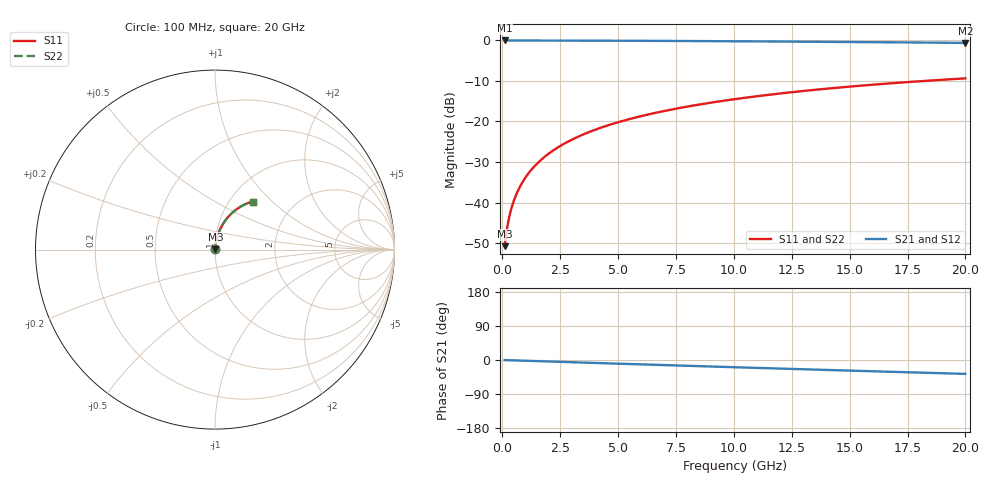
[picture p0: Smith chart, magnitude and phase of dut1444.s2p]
! Touchstone file exported from HFSS 2026.1.0
!  File:  C:/ffzhzh/LocalFiles/Ansys_Project_Files/temp_train_BSMRDL_1444_1783180615_43440.aedt
!  Generated:  11:58:08 PM Jul  4, 2026
!  Design:  BSMRDL
!  Project:  temp_train_BSMRDL_1444_1783180615_43440
! Variables:
!  h_bsmrdl = 4.47um
!  h_ox = 20um
!  h_rdl = 5um
!  h_sub = 80um
!  h_tmrdl = 5um
!  h_tsv = 80um
!  h_via = 3um
!  l_bsmrdl = 520.05um
!  l_sub = 920.05um
!  l_tmrdl = 200um
!  m_sub = 200um
!  pitch = 53.15um
!  r_tsv = 6um
!  s_tmrdl = 10um
!  w_bsmrdl = 23.91um
!  w_sub = 500um
!  w_tmrdl = 12um
!  x_tsv_center1 = 206um
!  x_tsv_center2 = 749.96um
!  x_tsv_center3 = 961.96um
!  x_tsv_center4 = 1505.92um
!  x_tsv_center5 = 1717.92um
!  x_tsv_center6 = 2261.88um
# GHz S MA R 50.000000
! Terminal data exported
! Port[1] = BSM_RDL1_1_T1
! Port[2] = BSM_RDL1_1_T2
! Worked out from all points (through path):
!   200 points, 100 MHz to 20 GHz, reference 50 ohm
!   highest |S21| = -0.02 dB at 100 MHz (marker M1); lowest = -0.6 dB at 20 GHz (marker M2)
!   group delay of S21, straight-line fit = 5.09 ps
!   lowest |S11| = -50.8 dB at 100 MHz (marker M3), VSWR 1.01, Z = 50.2 + j0.217 ohm
!   |S11| at or under -10 dB: start of sweep to 18.23 GHz
!   |S22| runs from -50.8 to -9.4 dB; largest |S21 - S12| = 3.2e-15
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0.1  0.002894 48.5  0.9981 -0.2  0.9981 -0.2  0.002894 48.5
! Gamma 0 0 0 0
! Port Impedance 50 0 50 0
0.2  0.004736 64.2  0.998 -0.4  0.998 -0.4  0.004736 64.2
0.3  0.006674 70.6  0.9978 -0.6  0.9978 -0.6  0.006673 70.6
0.4  0.008615 74.1  0.9977 -0.8  0.9977 -0.8  0.008614 74.1
0.5  0.01056 76.3  0.9977 -1.0  0.9977 -1.0  0.01056 76.3
0.7  0.01445 78.9  0.9975 -1.4  0.9975 -1.4  0.01445 78.9
0.8  0.01641 79.7  0.9975 -1.6  0.9975 -1.6  0.01641 79.7
1  0.02033 80.8  0.9973 -2.0  0.9973 -2.0  0.02033 80.8
1.2  0.02427 81.4  0.9972 -2.4  0.9972 -2.4  0.02427 81.4
1.4  0.02821 81.8  0.997 -2.8  0.997 -2.8  0.02821 81.8
1.7  0.03412 82.0  0.9967 -3.3  0.9967 -3.3  0.03412 82.0
2  0.04002 81.9  0.9964 -3.9  0.9964 -3.9  0.04002 81.9
2.7  0.05373 81.2  0.9954 -5.3  0.9954 -5.3  0.05373 81.3
3.5  0.06923 80.1  0.994 -6.8  0.994 -6.8  0.06923 80.1
4.2  0.08264 79.0  0.9925 -8.2  0.9925 -8.2  0.08264 79.0
5  0.09777 77.7  0.9907 -9.7  0.9907 -9.7  0.09777 77.7
6.8  0.1311 74.5  0.986 -13.1  0.986 -13.1  0.1311 74.5
8.3  0.158 71.9  0.9814 -15.9  0.9814 -15.9  0.158 71.9
10.1  0.1894 68.7  0.9752 -19.2  0.9752 -19.2  0.1894 68.8
13.4  0.2441 63.0  0.9622 -25.2  0.9622 -25.2  0.2441 63.0
16.7  0.2945 57.4  0.9474 -31.0  0.9474 -31.0  0.2945 57.4
20  0.3402 51.9  0.9317 -36.6  0.9317 -36.6  0.3402 52.0
